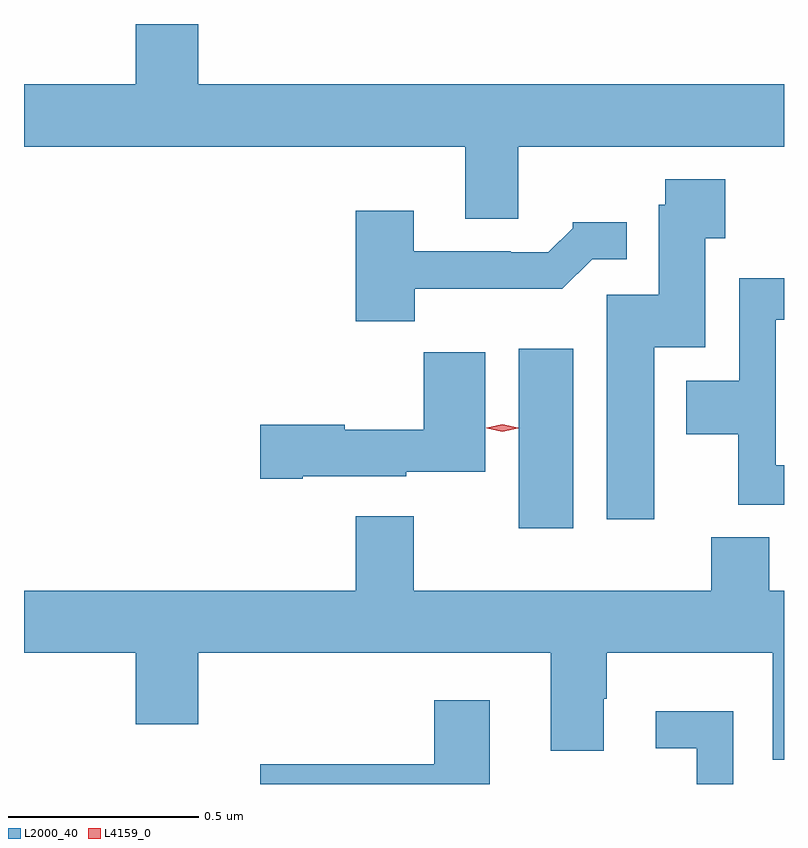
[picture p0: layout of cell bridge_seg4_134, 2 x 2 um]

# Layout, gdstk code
import gdstk
lib = gdstk.Library(unit=1e-6, precision=1e-09)
def R(c, l, rs):  # rectangles x0, y0, x1, y1
    for r in rs: c.add(gdstk.rectangle(r[:2], r[2:], *l))
def P(c, l, *ps):  # polygons
    for p in ps: c.add(gdstk.Polygon(p, *l))
L2000_40 = (2000, 40)
L4159_0 = (4159, 0)

bridge_seg4_134 = lib.new_cell('bridge_seg4_134')
R(bridge_seg4_134, L2000_40, [(333.848,801.144,333.991,801.616)])
P(bridge_seg4_134, L2000_40, [(333.847,802.148),(334.546,802.148),(334.546,802.312),(333.004,802.312),(333.004,802.471),(332.84,802.471),(332.84,802.312),(332.546,802.312),(332.546,802.148),(333.707,802.148),(333.707,801.958),(333.847,801.958)],
  [(334.204,801.62),(334.339,801.62),(334.339,801.907),(334.391,801.907),(334.391,802.063),(334.234,802.063),(334.234,801.996),(334.217,801.996),(334.217,801.759),(334.079,801.759),(334.079,801.168),(334.204,801.168)],
  [(333.574,801.774),(333.963,801.774),(334.041,801.852),(334.132,801.852),(334.132,801.949),(333.99,801.949),(333.99,801.934),(333.926,801.87),(333.827,801.87),(333.827,801.873),(333.571,801.873),(333.571,801.979),(333.419,801.979),(333.419,801.689),(333.574,801.689)],
  [(334.546,801.31),(334.524,801.31),(334.524,801.693),(334.546,801.693),(334.546,801.802),(334.428,801.802),(334.428,801.532),(334.289,801.532),(334.289,801.392),(334.426,801.392),(334.426,801.206),(334.546,801.206)],
  [(333.28,801.281),(333.552,801.281),(333.552,801.293),(333.76,801.293),(333.76,801.607),(333.598,801.607),(333.598,801.403),(333.39,801.403),(333.39,801.416),(333.168,801.416),(333.168,801.274),(333.28,801.274)],
  [(333.932,800.559),(334.072,800.559),(334.072,800.696),(334.08,800.696),(334.08,800.816),(334.517,800.816),(334.517,800.535),(334.546,800.535),(334.546,800.98),(334.507,800.98),(334.507,801.121),(334.355,801.121),(334.355,800.98),(333.571,800.98),(333.571,801.175),(333.419,801.175),(333.419,800.98),(332.546,800.98),(332.546,800.816),(332.84,800.816),(332.84,800.628),(333.004,800.628),(333.004,800.816),(333.932,800.816)],
  [(333.772,800.692),(333.626,800.692),(333.626,800.523),(333.168,800.523),(333.168,800.471),(333.772,800.471)],
  [(334.413,800.662),(334.209,800.662),(334.209,800.565),(334.317,800.565),(334.317,800.471),(334.413,800.471)])
P(bridge_seg4_134, L4159_0, [(333.804,801.398),(333.764,801.407),(333.763,801.408),(333.764,801.408),(333.804,801.418),(333.846,801.408),(333.846,801.408),(333.846,801.407)])

lib.write_gds('bridge_seg4_134.gds')
